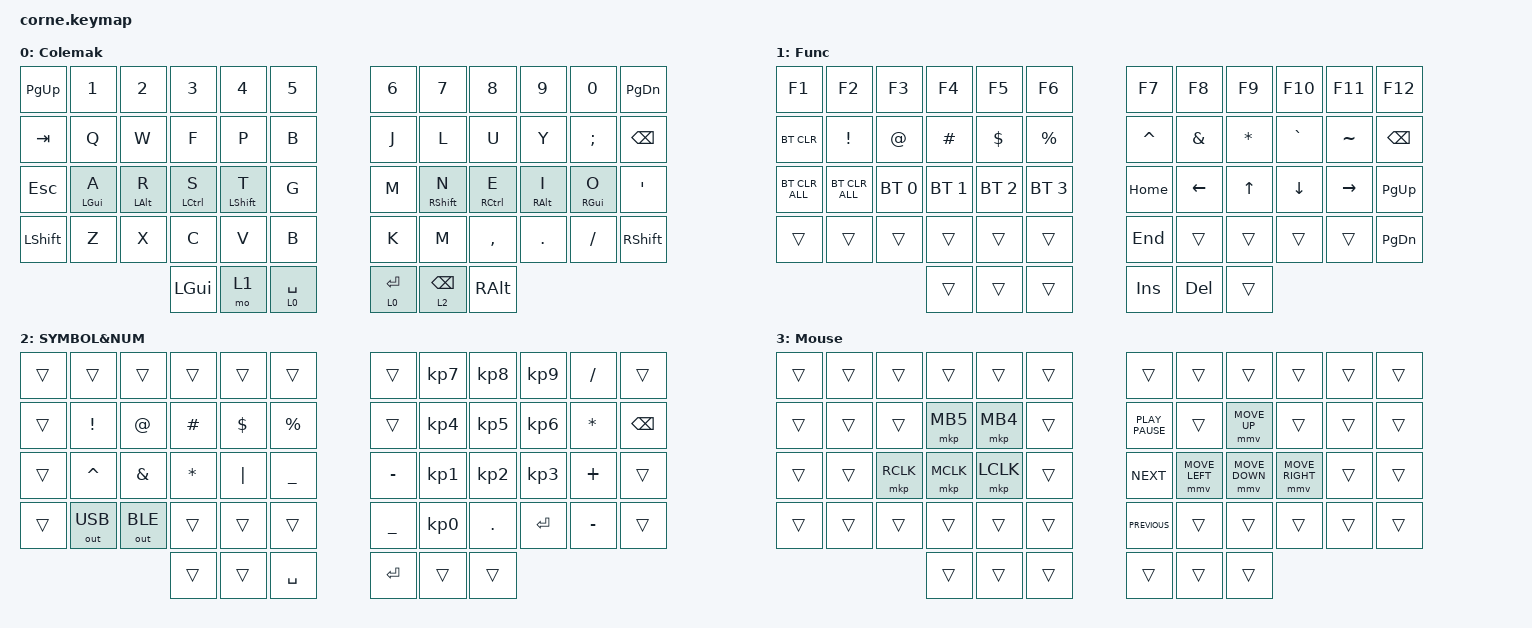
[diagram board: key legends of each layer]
/*
 * Copyright (c) 2020 The ZMK Contributors
 *
 * SPDX-License-Identifier: MIT
 */
#define ZMK_POINTING_DEFAULT_MOVE_VAL 1200  // 600
#define ZMK_POINTING_DEFAULT_SCRL_VAL 25   // 10

#include <behaviors.dtsi>
#include <dt-bindings/zmk/bt.h>
#include <dt-bindings/zmk/keys.h>
#include <dt-bindings/zmk/outputs.h>
#include <dt-bindings/zmk/pointing.h>

/ {
    chosen {
        zmk,matrix_transform = &default_transform;

        // zmk,matrix_transform = &five_column_transform;
    };
};

/ {
    behaviors {
        td0: td0 {
            compatible = "zmk,behavior-tap-dance";
            label = "TD0";
            #binding-cells = <0>;
            bindings = <&kp LEFT_SHIFT>, <&kp CAPS>;
        };

        hml: homewrow_mods_left {
            compatible = "zmk,behavior-hold-tap";
            #binding-cells = <2>;
            label = "HOMEROW_MODS_LEFT_HAND";
            bindings = <&kp>, <&kp>;

            tapping-term-ms = <200>;
            hold-trigger-key-positions = <6 7 8 9 10 11 18 19 20 21 22 23 30 31 32 33 34 35 39 40 41>;
        };

        hmr: homewrow_mods_right {
            compatible = "zmk,behavior-hold-tap";
            #binding-cells = <2>;
            label = "HOMEROW_MODS_RIGHT_HAND";
            bindings = <&kp>, <&kp>;

            tapping-term-ms = <200>;
            hold-trigger-key-positions = <0 1 2 3 4 5 12 13 14 15 16 17 24 25 26 27 28 29 36 37 38>;
        };
    };

    macros {
        Left_half: Left_half {
            compatible = "zmk,behavior-macro";
            #binding-cells = <0>;
            bindings = <&kp LS(LG(Q))>;
            label = "LEFT_HALF";
        };

        Right_split: Right_split {
            compatible = "zmk,behavior-macro";
            #binding-cells = <0>;
            bindings = <&kp LS(LG(W))>;
            label = "RIGHT_SPLIT";
        };
    };

    keymap {
        compatible = "zmk,keymap";

        Default_Layer {
            display-name = "Colemak";

            // --------------------------------------------------------------------------------
            // | PG_UP |  1  |  2  |  3  |  4  |  5  |   |  6  |  7   |  8  |  9  |  0  | PG_DN |
            // |  TAB  |  Q  |  W  |  E  |  R  |  T  |   |  Y  |  U   |  I  |  O  |  P  | BKSP  |
            // | CTRL  |  A  |  S  |  D  |  F  |  G  |   |  H  |  J   |  K  |  L  |  ;  |  '    |
            // | SHFT  |  Z  |  X  |  C  |  V  |  B  |   |  N  |  M   |  ,  |  .  |  /  | ESC   |
            //                    | GUI | LWR | SPC |   | ENT | RSE  | ALT |

            bindings = <
&kp PAGE_UP  &kp N1       &kp N2       &kp N3        &kp N4         &kp N5         &kp N6       &kp N7           &kp N8        &kp N9       &kp N0         &kp PAGE_DOWN
&kp TAB      &kp Q        &kp W        &kp F         &kp P          &kp B          &kp J        &kp L            &kp U         &kp Y        &kp SEMICOLON  &kp BSPC
&kp ESC      &hml LGUI A  &hml LALT R  &hml LCTRL S  &hml LSHIFT T  &kp G          &kp M        &hmr RSHIFT N    &hmr RCTRL E  &hmr RALT I  &hmr RGUI O    &kp SQT
&kp LSHFT    &kp Z        &kp X        &kp C         &kp V          &kp B          &kp K        &kp M            &kp COMMA     &kp DOT      &kp FSLH       &kp RIGHT_SHIFT
                                       &kp LGUI      &mo 1          &lt 0 SPACE    &lt 0 ENTER  &lt 2 BACKSPACE  &kp RALT
            >;
        };

        Function_Layer {
            display-name = "Func";

            // -----------------------------------------------------------------------------------------
            // |  F1  |  F2 |  F3 |  F4 |  F5 |  F6 |   |  F7 |  F8 |  F9 | F10 | F11 | F12  |
            // |  TAB |  1  |  2  |  3  |  4  |  5  |   |  6  |  7  |  8  |  9  |  0  | BKSP |
            // | BTCLR| BT1 | BT2 | BT3 | BT4 | BT5 |   | LFT | DWN |  UP | RGT |     |      |
            // | SHFT |     |     |     |     |     |   |     |     |     |     |     |      |
            //                    | GUI |     | SPC |   | ENT |     | ALT |

            bindings = <
&kp F1          &kp F2           &kp F3        &kp F4        &kp F5        &kp F6          &kp F7     &kp F8         &kp F9        &kp F10    &kp F11    &kp F12
&bt BT_CLR      &kp EXCLAMATION  &kp AT_SIGN   &kp HASH      &kp DOLLAR    &kp PERCENT     &kp CARET  &kp AMPERSAND  &kp ASTERISK  &kp GRAVE  &kp TILDE  &kp BSPC
&bt BT_CLR_ALL  &bt BT_CLR_ALL   &bt BT_SEL 0  &bt BT_SEL 1  &bt BT_SEL 2  &bt BT_SEL 3    &kp HOME   &kp LEFT       &kp UP        &kp DOWN   &kp RIGHT  &kp PG_UP
&trans          &trans           &trans        &trans        &trans        &trans          &kp END    &trans         &trans        &trans     &trans     &kp PG_DN
                                               &trans        &trans        &trans          &kp INS    &kp DEL        &trans
            >;
        };

        Symbol_Num {
            display-name = "SYMBOL&NUM";

            // -----------------------------------------------------------------------------------------
            // |  TAB |  !  |  @  |  #  |  $  |  %  |   |  ^  |  &  |  *  |  (  |  )  | BKSP |
            // | CTRL |     |     |     |     |     |   |  -  |  =  |  [  |  ]  |  \  |  `   |
            // | SHFT |     |     |     |     |     |   |  _  |  +  |  {  |  }  | "|" |  ~   |
            //                    | GUI |     | SPC |   | ENT |     | ALT |

            bindings = <
&trans  &trans        &trans         &trans        &trans    &trans            &trans     &kp KP_NUMBER_7  &kp KP_N8  &kp KP_N9        &kp SLASH     &trans
&trans  &kp EXCL      &kp AT         &kp HASH      &kp DLLR  &kp PRCNT         &trans     &kp KP_N4        &kp KP_N5  &kp KP_NUMBER_6  &kp ASTERISK  &kp BSPC
&trans  &kp CARET     &kp AMPERSAND  &kp ASTERISK  &kp PIPE  &kp UNDERSCORE    &kp MINUS  &kp KP_NUMBER_1  &kp KP_N2  &kp KP_N3        &kp PLUS      &trans
&trans  &out OUT_USB  &out OUT_BLE   &trans        &trans    &trans            &kp UNDER  &kp KP_N0        &kp DOT    &kp ENTER        &kp MINUS     &trans
                                     &trans        &trans    &kp SPACE         &kp RET    &trans           &trans
            >;
        };

        Mouse {
            bindings = <
&trans  &trans  &trans     &trans     &trans     &trans    &trans            &trans          &trans          &trans           &trans  &trans
&trans  &trans  &trans     &mkp MB5   &mkp MB4   &trans    &kp K_PLAY_PAUSE  &trans          &mmv MOVE_UP    &trans           &trans  &trans
&trans  &trans  &mkp RCLK  &mkp MCLK  &mkp LCLK  &trans    &kp C_NEXT        &mmv MOVE_LEFT  &mmv MOVE_DOWN  &mmv MOVE_RIGHT  &trans  &trans
&trans  &trans  &trans     &trans     &trans     &trans    &kp K_PREVIOUS    &trans          &trans          &trans           &trans  &trans
                           &trans     &trans     &trans    &trans            &trans          &trans
            >;
        };
    };
};
